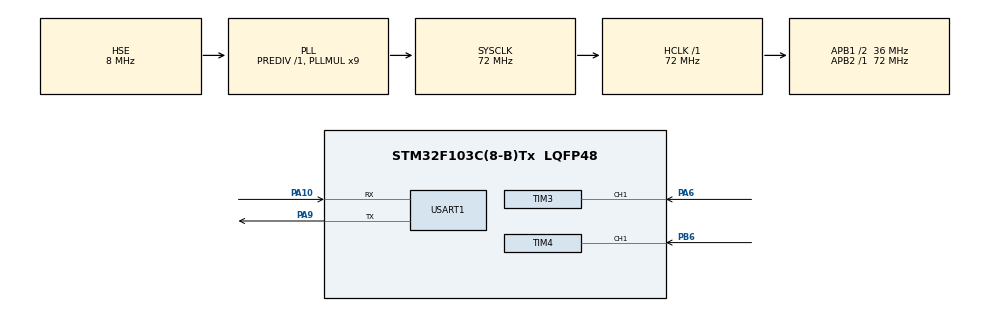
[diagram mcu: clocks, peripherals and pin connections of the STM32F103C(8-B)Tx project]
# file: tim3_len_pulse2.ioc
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Mcu.Family=STM32F1
Mcu.Name=STM32F103C(8-B)Tx
Mcu.Package=LQFP48
NVIC.PriorityGroup=NVIC_PRIORITYGROUP_4
NVIC.TIM3_IRQn=true\:0\:0\:false\:false\:true\:true
NVIC.TIM4_IRQn=true\:0\:0\:false\:false\:true\:true
PA10.Mode=Asynchronous
PA10.Signal=USART1_RX
PA13.Mode=Serial_Wire
PA13.Signal=SYS_JTMS-SWDIO
PA14.Mode=Serial_Wire
PA14.Signal=SYS_JTCK-SWCLK
PA6.Signal=S_TIM3_CH1
PA9.Mode=Asynchronous
PA9.Signal=USART1_TX
PB6.Signal=S_TIM4_CH1
PD0-OSC_IN.Mode=HSE-External-Oscillator
PD0-OSC_IN.Signal=RCC_OSC_IN
PD1-OSC_OUT.Mode=HSE-External-Oscillator
PD1-OSC_OUT.Signal=RCC_OSC_OUT
ProjectManager.HeapSize=0x200
ProjectManager.StackSize=0x400
ProjectManager.TargetToolchain=TrueSTUDIO
RCC.AHBFreq_Value=72000000
RCC.APB1CLKDivider=RCC_HCLK_DIV2
RCC.APB1Freq_Value=36000000
RCC.APB1TimFreq_Value=72000000
RCC.APB2Freq_Value=72000000
RCC.APB2TimFreq_Value=72000000
RCC.HCLKFreq_Value=72000000
RCC.PLLMUL=RCC_PLL_MUL9
RCC.PLLSourceVirtual=RCC_PLLSOURCE_HSE
RCC.SYSCLKFreq_VALUE=72000000
RCC.SYSCLKSource=RCC_SYSCLKSOURCE_PLLCLK
RCC.USBFreq_Value=72000000
SH.S_TIM3_CH1.0=TIM3_CH1,Input_Capture1_from_TI1
SH.S_TIM3_CH1.1=TIM3_CH1,Input_Capture2_from_TI1
SH.S_TIM4_CH1.0=TIM4_CH1,Input_Capture1_from_TI1
TIM3.Channel-Input_Capture1_from_TI1=TIM_CHANNEL_1
TIM3.Channel-Input_Capture2_from_TI1=TIM_CHANNEL_2
TIM3.ClockDivision=TIM_CLOCKDIVISION_DIV1
TIM3.ICFilter_CH1=0
TIM3.ICPolarity_CH1=TIM_INPUTCHANNELPOLARITY_RISING
TIM3.ICPolarity_CH2=TIM_INPUTCHANNELPOLARITY_FALLING
TIM3.ICPrescaler-Input_Capture1_from_TI1=TIM_ICPSC_DIV1
TIM3.Period=65535
TIM3.Prescaler=72
TIM3.TIM_MasterOutputTrigger=TIM_TRGO_RESET
TIM3.TIM_MasterSlaveMode=TIM_MASTERSLAVEMODE_DISABLE
TIM4.Channel-Input_Capture1_from_TI1=TIM_CHANNEL_1
TIM4.ICFilter_CH1=0
TIM4.ICPrescaler-Input_Capture1_from_TI1=TIM_ICPSC_DIV1
TIM4.Period=65535
TIM4.Prescaler=72
USART1.VirtualMode=VM_ASYNC
board=custom

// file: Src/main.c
/* USER CODE BEGIN Header */
/**
  ******************************************************************************
  * @file           : main.c
  * @brief          : Main program body
  ******************************************************************************
  ** This notice applies to any and all portions of this file
  * that are not between comment pairs USER CODE BEGIN and
  * USER CODE END. Other portions of this file, whether
  * inserted by the user or by software development tools
  * are owned by their respective copyright owners.
  *
  * COPYRIGHT(c) 2019 STMicroelectronics
  *
  * Redistribution and use in source and binary forms, with or without modification,
  * are permitted provided that the following conditions are met:
  *   1. Redistributions of source code must retain the above copyright notice,
  *      this list of conditions and the following disclaimer.
  *   2. Redistributions in binary form must reproduce the above copyright notice,
  *      this list of conditions and the following disclaimer in the documentation
  *      and/or other materials provided with the distribution.
  *   3. Neither the name of STMicroelectronics nor the names of its contributors
  *      may be used to endorse or promote products derived from this software
  *      without specific prior written permission.
  *
  * THIS SOFTWARE IS PROVIDED BY THE COPYRIGHT HOLDERS AND CONTRIBUTORS "AS IS"
  * AND ANY EXPRESS OR IMPLIED WARRANTIES, INCLUDING, BUT NOT LIMITED TO, THE
  * IMPLIED WARRANTIES OF MERCHANTABILITY AND FITNESS FOR A PARTICULAR PURPOSE ARE
  * DISCLAIMED. IN NO EVENT SHALL THE COPYRIGHT HOLDER OR CONTRIBUTORS BE LIABLE
  * FOR ANY DIRECT, INDIRECT, INCIDENTAL, SPECIAL, EXEMPLARY, OR CONSEQUENTIAL
  * DAMAGES (INCLUDING, BUT NOT LIMITED TO, PROCUREMENT OF SUBSTITUTE GOODS OR
  * SERVICES; LOSS OF USE, DATA, OR PROFITS; OR BUSINESS INTERRUPTION) HOWEVER
  * CAUSED AND ON ANY THEORY OF LIABILITY, WHETHER IN CONTRACT, STRICT LIABILITY,
  * OR TORT (INCLUDING NEGLIGENCE OR OTHERWISE) ARISING IN ANY WAY OUT OF THE USE
  * OF THIS SOFTWARE, EVEN IF ADVISED OF THE POSSIBILITY OF SUCH DAMAGE.
  *
  ******************************************************************************
  */
/* USER CODE END Header */

#include "main.h"

/* USER CODE BEGIN Includes */
#include "string.h"
/* USER CODE END Includes */

TIM_HandleTypeDef htim3;
TIM_HandleTypeDef htim4;

UART_HandleTypeDef huart1;

/* USER CODE BEGIN PV */
char trans_str[32] = {0,};
volatile uint8_t count_overflow = 0;
volatile uint8_t count_overfl_per = 0;
//uint32_t faling = 0;
/* USER CODE END PV */

void SystemClock_Config(void);
static void MX_GPIO_Init(void);
static void MX_TIM3_Init(void);
static void MX_USART1_UART_Init(void);
static void MX_TIM4_Init(void);

/* USER CODE BEGIN 0 */

void HAL_TIM_PeriodElapsedCallback(TIM_HandleTypeDef *htim)
{
	if(htim->Instance == TIM3)
	{
		count_overflow++;
	}

	if(htim->Instance == TIM4)
	{
		count_overfl_per++;
	}
}

void HAL_TIM_IC_CaptureCallback(TIM_HandleTypeDef *htim)
{
	if(htim->Instance == TIM3) // pulse (two channel)
	{
		if(htim->Channel == HAL_TIM_ACTIVE_CHANNEL_1) // RISING с LOW на HIGH
		{
			__HAL_TIM_SET_COUNTER(&htim3, 0x0000);
			count_overflow = 0;
		}

		else if(htim->Channel == HAL_TIM_ACTIVE_CHANNEL_2) // FALLING с HIGH на LOW
		{
			uint32_t faling = HAL_TIM_ReadCapturedValue(&htim3, TIM_CHANNEL_2); // Get FALLING Capture value
			snprintf(trans_str, 31, "Pulse %lu count %d\n", faling + (__HAL_TIM_GET_AUTORELOAD(&htim3) * count_overflow), count_overflow);
			HAL_UART_Transmit(&huart1, (uint8_t*)trans_str, strlen(trans_str), 1000);
		}
	}

	if(htim->Instance == TIM4) //  period (one channel)
	{
		if(htim->Channel == HAL_TIM_ACTIVE_CHANNEL_1)
		{
			__HAL_TIM_SET_COUNTER(&htim4, 0x0000);
			uint32_t rising = HAL_TIM_ReadCapturedValue(&htim4, TIM_CHANNEL_1);
			snprintf(trans_str, 31, "Period %lu count %d\n", rising + (__HAL_TIM_GET_AUTORELOAD(&htim4) * count_overfl_per), count_overfl_per);
			count_overfl_per = 0;
			HAL_UART_Transmit(&huart1, (uint8_t*)trans_str, strlen(trans_str), 1000);
		}
	}
}

//       _______          _______
// _____|       |________|       |__
//
//      | pulse |
//      |     period     |

/* USER CODE END 0 */

int main(void)
{

  /* MCU Configuration--------------------------------------------------------*/

  /* Reset of all peripherals, Initializes the Flash interface and the Systick. */
  HAL_Init();

  /* Configure the system clock */
  SystemClock_Config();

  /* Initialize all configured peripherals */
  MX_GPIO_Init();
  MX_TIM3_Init();
  MX_USART1_UART_Init();
  MX_TIM4_Init();
  /* USER CODE BEGIN 2 */
  HAL_TIM_Base_Start_IT(&htim3);
  HAL_TIM_Base_Start_IT(&htim4);
  HAL_TIM_IC_Start_IT(&htim3, TIM_CHANNEL_1);
  HAL_TIM_IC_Start_IT(&htim3, TIM_CHANNEL_2);
  HAL_TIM_IC_Start_IT(&htim4, TIM_CHANNEL_1);
  /* USER CODE END 2 */

  /* Infinite loop */
  while (1)
  {

  }
}

void SystemClock_Config(void)
{
  RCC_OscInitTypeDef RCC_OscInitStruct = {0};
  RCC_ClkInitTypeDef RCC_ClkInitStruct = {0};

  /**Initializes the CPU, AHB and APB busses clocks
  */
  RCC_OscInitStruct.OscillatorType = RCC_OSCILLATORTYPE_HSE;
  RCC_OscInitStruct.HSEState = RCC_HSE_ON;
  RCC_OscInitStruct.HSEPredivValue = RCC_HSE_PREDIV_DIV1;
  RCC_OscInitStruct.HSIState = RCC_HSI_ON;
  RCC_OscInitStruct.PLL.PLLState = RCC_PLL_ON;
  RCC_OscInitStruct.PLL.PLLSource = RCC_PLLSOURCE_HSE;
  RCC_OscInitStruct.PLL.PLLMUL = RCC_PLL_MUL9;
  if (HAL_RCC_OscConfig(&RCC_OscInitStruct) != HAL_OK)
  {
    Error_Handler();
  }
  /**Initializes the CPU, AHB and APB busses clocks
  */
  RCC_ClkInitStruct.ClockType = RCC_CLOCKTYPE_HCLK|RCC_CLOCKTYPE_SYSCLK
                              |RCC_CLOCKTYPE_PCLK1|RCC_CLOCKTYPE_PCLK2;
  RCC_ClkInitStruct.SYSCLKSource = RCC_SYSCLKSOURCE_PLLCLK;
  RCC_ClkInitStruct.AHBCLKDivider = RCC_SYSCLK_DIV1;
  RCC_ClkInitStruct.APB1CLKDivider = RCC_HCLK_DIV2;
  RCC_ClkInitStruct.APB2CLKDivider = RCC_HCLK_DIV1;

  if (HAL_RCC_ClockConfig(&RCC_ClkInitStruct, FLASH_LATENCY_2) != HAL_OK)
  {
    Error_Handler();
  }
}

static void MX_TIM3_Init(void)
{

  TIM_MasterConfigTypeDef sMasterConfig = {0};
  TIM_IC_InitTypeDef sConfigIC = {0};

  htim3.Instance = TIM3;
  htim3.Init.Prescaler = 72;
  htim3.Init.CounterMode = TIM_COUNTERMODE_UP;
  htim3.Init.Period = 65535;
  htim3.Init.ClockDivision = TIM_CLOCKDIVISION_DIV1;
  htim3.Init.AutoReloadPreload = TIM_AUTORELOAD_PRELOAD_DISABLE;
  if (HAL_TIM_IC_Init(&htim3) != HAL_OK)
  {
    Error_Handler();
  }
  sMasterConfig.MasterOutputTrigger = TIM_TRGO_RESET;
  sMasterConfig.MasterSlaveMode = TIM_MASTERSLAVEMODE_DISABLE;
  if (HAL_TIMEx_MasterConfigSynchronization(&htim3, &sMasterConfig) != HAL_OK)
  {
    Error_Handler();
  }
  sConfigIC.ICPolarity = TIM_INPUTCHANNELPOLARITY_RISING;
  sConfigIC.ICSelection = TIM_ICSELECTION_DIRECTTI;
  sConfigIC.ICPrescaler = TIM_ICPSC_DIV1;
  sConfigIC.ICFilter = 0;
  if (HAL_TIM_IC_ConfigChannel(&htim3, &sConfigIC, TIM_CHANNEL_1) != HAL_OK)
  {
    Error_Handler();
  }
  sConfigIC.ICPolarity = TIM_INPUTCHANNELPOLARITY_FALLING;
  sConfigIC.ICSelection = TIM_ICSELECTION_INDIRECTTI;
  if (HAL_TIM_IC_ConfigChannel(&htim3, &sConfigIC, TIM_CHANNEL_2) != HAL_OK)
  {
    Error_Handler();
  }

}

static void MX_TIM4_Init(void)
{

  TIM_MasterConfigTypeDef sMasterConfig = {0};
  TIM_IC_InitTypeDef sConfigIC = {0};

  htim4.Instance = TIM4;
  htim4.Init.Prescaler = 72;
  htim4.Init.CounterMode = TIM_COUNTERMODE_UP;
  htim4.Init.Period = 65535;
  htim4.Init.ClockDivision = TIM_CLOCKDIVISION_DIV1;
  htim4.Init.AutoReloadPreload = TIM_AUTORELOAD_PRELOAD_DISABLE;
  if (HAL_TIM_IC_Init(&htim4) != HAL_OK)
  {
    Error_Handler();
  }
  sMasterConfig.MasterOutputTrigger = TIM_TRGO_RESET;
  sMasterConfig.MasterSlaveMode = TIM_MASTERSLAVEMODE_DISABLE;
  if (HAL_TIMEx_MasterConfigSynchronization(&htim4, &sMasterConfig) != HAL_OK)
  {
    Error_Handler();
  }
  sConfigIC.ICPolarity = TIM_INPUTCHANNELPOLARITY_RISING;
  sConfigIC.ICSelection = TIM_ICSELECTION_DIRECTTI;
  sConfigIC.ICPrescaler = TIM_ICPSC_DIV1;
  sConfigIC.ICFilter = 0;
  if (HAL_TIM_IC_ConfigChannel(&htim4, &sConfigIC, TIM_CHANNEL_1) != HAL_OK)
  {
    Error_Handler();
  }

}

static void MX_USART1_UART_Init(void)
{

  huart1.Instance = USART1;
  huart1.Init.BaudRate = 115200;
  huart1.Init.WordLength = UART_WORDLENGTH_8B;
  huart1.Init.StopBits = UART_STOPBITS_1;
  huart1.Init.Parity = UART_PARITY_NONE;
  huart1.Init.Mode = UART_MODE_TX_RX;
  huart1.Init.HwFlowCtl = UART_HWCONTROL_NONE;
  huart1.Init.OverSampling = UART_OVERSAMPLING_16;
  if (HAL_UART_Init(&huart1) != HAL_OK)
  {
    Error_Handler();
  }

}

static void MX_GPIO_Init(void)
{

  /* GPIO Ports Clock Enable */
  __HAL_RCC_GPIOD_CLK_ENABLE();
  __HAL_RCC_GPIOA_CLK_ENABLE();
  __HAL_RCC_GPIOB_CLK_ENABLE();

}

void Error_Handler(void)
{
}

/************************ (C) COPYRIGHT STMicroelectronics *****END OF FILE****/
